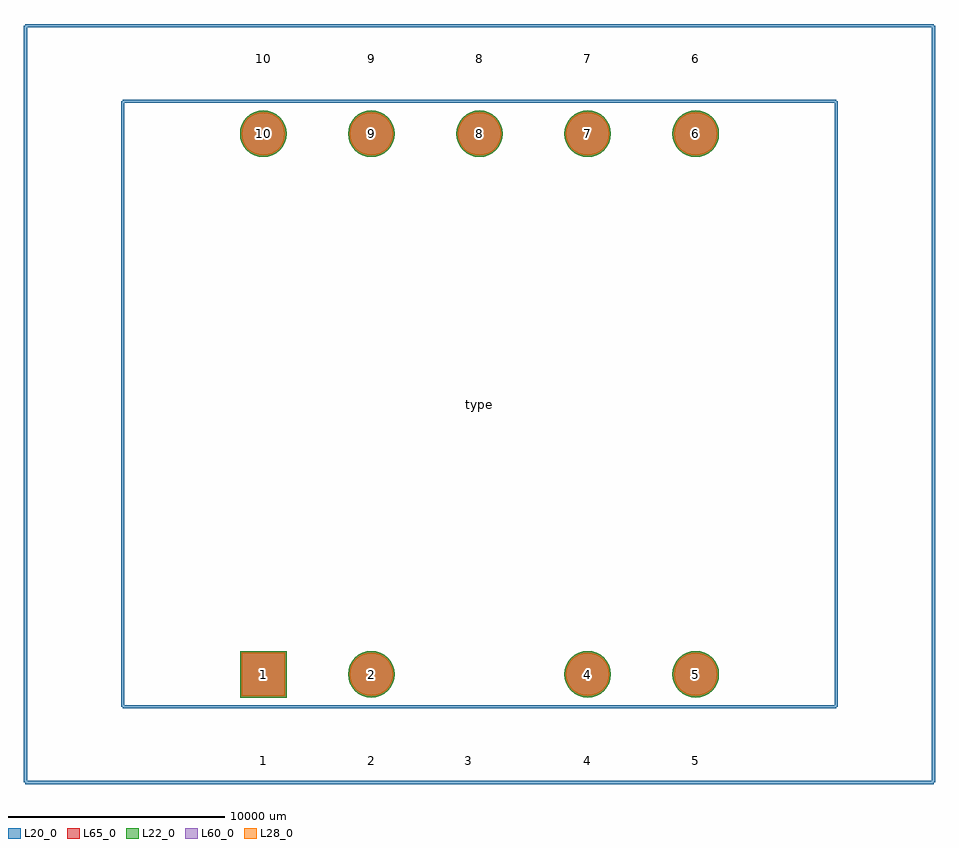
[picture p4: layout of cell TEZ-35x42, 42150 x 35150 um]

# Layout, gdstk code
import gdstk
lib = gdstk.Library(unit=1e-6, precision=1e-09)
def R(c, l, rs):  # rectangles x0, y0, x1, y1
    for r in rs: c.add(gdstk.rectangle(r[:2], r[2:], *l))
def P(c, l, *ps):  # polygons
    for p in ps: c.add(gdstk.Polygon(p, *l))
L20_0 = (20, 0)
L22_0 = (22, 0)
L28_0 = (28, 0)
L60_0 = (60, 0)
L65_0 = (65, 0)

tez_35x42 = lib.new_cell('TEZ-35x42')
R(tez_35x42, L22_0, [(-11075,-13575,-8925,-11425)])
P(tez_35x42, L22_0, [(-8925,12500),(-8945.656,12709.722),(-9006.83,12911.385),(-9106.17,13097.238),(-9239.86,13260.14),(-9402.762,13393.83),(-9588.615,13493.17),(-9790.278,13554.344),(-10000,13575),(-10209.722,13554.344),(-10411.385,13493.17),(-10597.238,13393.83),(-10760.14,13260.14),(-10893.83,13097.238),(-10993.17,12911.385),(-11054.344,12709.722),(-11075,12500),(-11054.344,12290.278),(-10993.17,12088.615),(-10893.83,11902.762),(-10760.14,11739.86),(-10597.238,11606.17),(-10411.385,11506.83),(-10209.722,11445.656),(-10000,11425),(-9790.278,11445.656),(-9588.615,11506.83),(-9402.762,11606.17),(-9239.86,11739.86),(-9106.17,11902.762),(-9006.83,12088.615),(-8945.656,12290.278)],
  [(-3925,12500),(-3945.656,12709.722),(-4006.83,12911.385),(-4106.17,13097.238),(-4239.86,13260.14),(-4402.762,13393.83),(-4588.615,13493.17),(-4790.278,13554.344),(-5000,13575),(-5209.722,13554.344),(-5411.385,13493.17),(-5597.238,13393.83),(-5760.14,13260.14),(-5893.83,13097.238),(-5993.17,12911.385),(-6054.344,12709.722),(-6075,12500),(-6054.344,12290.278),(-5993.17,12088.615),(-5893.83,11902.762),(-5760.14,11739.86),(-5597.238,11606.17),(-5411.385,11506.83),(-5209.722,11445.656),(-5000,11425),(-4790.278,11445.656),(-4588.615,11506.83),(-4402.762,11606.17),(-4239.86,11739.86),(-4106.17,11902.762),(-4006.83,12088.615),(-3945.656,12290.278)],
  [(1075,12500),(1054.344,12709.722),(993.17,12911.385),(893.83,13097.238),(760.14,13260.14),(597.238,13393.83),(411.385,13493.17),(209.722,13554.344),(0,13575),(-209.722,13554.344),(-411.385,13493.17),(-597.238,13393.83),(-760.14,13260.14),(-893.83,13097.238),(-993.17,12911.385),(-1054.344,12709.722),(-1075,12500),(-1054.344,12290.278),(-993.17,12088.615),(-893.83,11902.762),(-760.14,11739.86),(-597.238,11606.17),(-411.385,11506.83),(-209.722,11445.656),(0,11425),(209.722,11445.656),(411.385,11506.83),(597.238,11606.17),(760.14,11739.86),(893.83,11902.762),(993.17,12088.615),(1054.344,12290.278)],
  [(6075,12500),(6054.344,12709.722),(5993.17,12911.385),(5893.83,13097.238),(5760.14,13260.14),(5597.238,13393.83),(5411.385,13493.17),(5209.722,13554.344),(5000,13575),(4790.278,13554.344),(4588.615,13493.17),(4402.762,13393.83),(4239.86,13260.14),(4106.17,13097.238),(4006.83,12911.385),(3945.656,12709.722),(3925,12500),(3945.656,12290.278),(4006.83,12088.615),(4106.17,11902.762),(4239.86,11739.86),(4402.762,11606.17),(4588.615,11506.83),(4790.278,11445.656),(5000,11425),(5209.722,11445.656),(5411.385,11506.83),(5597.238,11606.17),(5760.14,11739.86),(5893.83,11902.762),(5993.17,12088.615),(6054.344,12290.278)],
  [(11075,12500),(11054.344,12709.722),(10993.17,12911.385),(10893.83,13097.238),(10760.14,13260.14),(10597.238,13393.83),(10411.385,13493.17),(10209.722,13554.344),(10000,13575),(9790.278,13554.344),(9588.615,13493.17),(9402.762,13393.83),(9239.86,13260.14),(9106.17,13097.238),(9006.83,12911.385),(8945.656,12709.722),(8925,12500),(8945.656,12290.278),(9006.83,12088.615),(9106.17,11902.762),(9239.86,11739.86),(9402.762,11606.17),(9588.615,11506.83),(9790.278,11445.656),(10000,11425),(10209.722,11445.656),(10411.385,11506.83),(10597.238,11606.17),(10760.14,11739.86),(10893.83,11902.762),(10993.17,12088.615),(11054.344,12290.278)],
  [(11075,-12500),(11054.344,-12290.278),(10993.17,-12088.615),(10893.83,-11902.762),(10760.14,-11739.86),(10597.238,-11606.17),(10411.385,-11506.83),(10209.722,-11445.656),(10000,-11425),(9790.278,-11445.656),(9588.615,-11506.83),(9402.762,-11606.17),(9239.86,-11739.86),(9106.17,-11902.762),(9006.83,-12088.615),(8945.656,-12290.278),(8925,-12500),(8945.656,-12709.722),(9006.83,-12911.385),(9106.17,-13097.238),(9239.86,-13260.14),(9402.762,-13393.83),(9588.615,-13493.17),(9790.278,-13554.344),(10000,-13575),(10209.722,-13554.344),(10411.385,-13493.17),(10597.238,-13393.83),(10760.14,-13260.14),(10893.83,-13097.238),(10993.17,-12911.385),(11054.344,-12709.722)],
  [(6075,-12500),(6054.344,-12290.278),(5993.17,-12088.615),(5893.83,-11902.762),(5760.14,-11739.86),(5597.238,-11606.17),(5411.385,-11506.83),(5209.722,-11445.656),(5000,-11425),(4790.278,-11445.656),(4588.615,-11506.83),(4402.762,-11606.17),(4239.86,-11739.86),(4106.17,-11902.762),(4006.83,-12088.615),(3945.656,-12290.278),(3925,-12500),(3945.656,-12709.722),(4006.83,-12911.385),(4106.17,-13097.238),(4239.86,-13260.14),(4402.762,-13393.83),(4588.615,-13493.17),(4790.278,-13554.344),(5000,-13575),(5209.722,-13554.344),(5411.385,-13493.17),(5597.238,-13393.83),(5760.14,-13260.14),(5893.83,-13097.238),(5993.17,-12911.385),(6054.344,-12709.722)],
  [(-3925,-12500),(-3945.656,-12290.278),(-4006.83,-12088.615),(-4106.17,-11902.762),(-4239.86,-11739.86),(-4402.762,-11606.17),(-4588.615,-11506.83),(-4790.278,-11445.656),(-5000,-11425),(-5209.722,-11445.656),(-5411.385,-11506.83),(-5597.238,-11606.17),(-5760.14,-11739.86),(-5893.83,-11902.762),(-5993.17,-12088.615),(-6054.344,-12290.278),(-6075,-12500),(-6054.344,-12709.722),(-5993.17,-12911.385),(-5893.83,-13097.238),(-5760.14,-13260.14),(-5597.238,-13393.83),(-5411.385,-13493.17),(-5209.722,-13554.344),(-5000,-13575),(-4790.278,-13554.344),(-4588.615,-13493.17),(-4402.762,-13393.83),(-4239.86,-13260.14),(-4106.17,-13097.238),(-4006.83,-12911.385),(-3945.656,-12709.722)])
R(tez_35x42, L28_0, [(-11000,-13500,-9000,-11500)])
P(tez_35x42, L28_0, [(-9000,12500),(-9019.215,12695.09),(-9076.12,12882.683),(-9168.53,13055.57),(-9292.893,13207.107),(-9444.43,13331.47),(-9617.317,13423.88),(-9804.91,13480.785),(-10000,13500),(-10195.09,13480.785),(-10382.683,13423.88),(-10555.57,13331.47),(-10707.107,13207.107),(-10831.47,13055.57),(-10923.88,12882.683),(-10980.785,12695.09),(-11000,12500),(-10980.785,12304.91),(-10923.88,12117.317),(-10831.47,11944.43),(-10707.107,11792.893),(-10555.57,11668.53),(-10382.683,11576.12),(-10195.09,11519.215),(-10000,11500),(-9804.91,11519.215),(-9617.317,11576.12),(-9444.43,11668.53),(-9292.893,11792.893),(-9168.53,11944.43),(-9076.12,12117.317),(-9019.215,12304.91)],
  [(-4000,12500),(-4019.215,12695.09),(-4076.12,12882.683),(-4168.53,13055.57),(-4292.893,13207.107),(-4444.43,13331.47),(-4617.317,13423.88),(-4804.91,13480.785),(-5000,13500),(-5195.09,13480.785),(-5382.683,13423.88),(-5555.57,13331.47),(-5707.107,13207.107),(-5831.47,13055.57),(-5923.88,12882.683),(-5980.785,12695.09),(-6000,12500),(-5980.785,12304.91),(-5923.88,12117.317),(-5831.47,11944.43),(-5707.107,11792.893),(-5555.57,11668.53),(-5382.683,11576.12),(-5195.09,11519.215),(-5000,11500),(-4804.91,11519.215),(-4617.317,11576.12),(-4444.43,11668.53),(-4292.893,11792.893),(-4168.53,11944.43),(-4076.12,12117.317),(-4019.215,12304.91)],
  [(1000,12500),(980.785,12695.09),(923.88,12882.683),(831.47,13055.57),(707.107,13207.107),(555.57,13331.47),(382.683,13423.88),(195.09,13480.785),(0,13500),(-195.09,13480.785),(-382.683,13423.88),(-555.57,13331.47),(-707.107,13207.107),(-831.47,13055.57),(-923.88,12882.683),(-980.785,12695.09),(-1000,12500),(-980.785,12304.91),(-923.88,12117.317),(-831.47,11944.43),(-707.107,11792.893),(-555.57,11668.53),(-382.683,11576.12),(-195.09,11519.215),(0,11500),(195.09,11519.215),(382.683,11576.12),(555.57,11668.53),(707.107,11792.893),(831.47,11944.43),(923.88,12117.317),(980.785,12304.91)],
  [(6000,12500),(5980.785,12695.09),(5923.88,12882.683),(5831.47,13055.57),(5707.107,13207.107),(5555.57,13331.47),(5382.683,13423.88),(5195.09,13480.785),(5000,13500),(4804.91,13480.785),(4617.317,13423.88),(4444.43,13331.47),(4292.893,13207.107),(4168.53,13055.57),(4076.12,12882.683),(4019.215,12695.09),(4000,12500),(4019.215,12304.91),(4076.12,12117.317),(4168.53,11944.43),(4292.893,11792.893),(4444.43,11668.53),(4617.317,11576.12),(4804.91,11519.215),(5000,11500),(5195.09,11519.215),(5382.683,11576.12),(5555.57,11668.53),(5707.107,11792.893),(5831.47,11944.43),(5923.88,12117.317),(5980.785,12304.91)],
  [(11000,12500),(10980.785,12695.09),(10923.88,12882.683),(10831.47,13055.57),(10707.107,13207.107),(10555.57,13331.47),(10382.683,13423.88),(10195.09,13480.785),(10000,13500),(9804.91,13480.785),(9617.317,13423.88),(9444.43,13331.47),(9292.893,13207.107),(9168.53,13055.57),(9076.12,12882.683),(9019.215,12695.09),(9000,12500),(9019.215,12304.91),(9076.12,12117.317),(9168.53,11944.43),(9292.893,11792.893),(9444.43,11668.53),(9617.317,11576.12),(9804.91,11519.215),(10000,11500),(10195.09,11519.215),(10382.683,11576.12),(10555.57,11668.53),(10707.107,11792.893),(10831.47,11944.43),(10923.88,12117.317),(10980.785,12304.91)],
  [(11000,-12500),(10980.785,-12304.91),(10923.88,-12117.317),(10831.47,-11944.43),(10707.107,-11792.893),(10555.57,-11668.53),(10382.683,-11576.12),(10195.09,-11519.215),(10000,-11500),(9804.91,-11519.215),(9617.317,-11576.12),(9444.43,-11668.53),(9292.893,-11792.893),(9168.53,-11944.43),(9076.12,-12117.317),(9019.215,-12304.91),(9000,-12500),(9019.215,-12695.09),(9076.12,-12882.683),(9168.53,-13055.57),(9292.893,-13207.107),(9444.43,-13331.47),(9617.317,-13423.88),(9804.91,-13480.785),(10000,-13500),(10195.09,-13480.785),(10382.683,-13423.88),(10555.57,-13331.47),(10707.107,-13207.107),(10831.47,-13055.57),(10923.88,-12882.683),(10980.785,-12695.09)],
  [(6000,-12500),(5980.785,-12304.91),(5923.88,-12117.317),(5831.47,-11944.43),(5707.107,-11792.893),(5555.57,-11668.53),(5382.683,-11576.12),(5195.09,-11519.215),(5000,-11500),(4804.91,-11519.215),(4617.317,-11576.12),(4444.43,-11668.53),(4292.893,-11792.893),(4168.53,-11944.43),(4076.12,-12117.317),(4019.215,-12304.91),(4000,-12500),(4019.215,-12695.09),(4076.12,-12882.683),(4168.53,-13055.57),(4292.893,-13207.107),(4444.43,-13331.47),(4617.317,-13423.88),(4804.91,-13480.785),(5000,-13500),(5195.09,-13480.785),(5382.683,-13423.88),(5555.57,-13331.47),(5707.107,-13207.107),(5831.47,-13055.57),(5923.88,-12882.683),(5980.785,-12695.09)],
  [(-4000,-12500),(-4019.215,-12304.91),(-4076.12,-12117.317),(-4168.53,-11944.43),(-4292.893,-11792.893),(-4444.43,-11668.53),(-4617.317,-11576.12),(-4804.91,-11519.215),(-5000,-11500),(-5195.09,-11519.215),(-5382.683,-11576.12),(-5555.57,-11668.53),(-5707.107,-11792.893),(-5831.47,-11944.43),(-5923.88,-12117.317),(-5980.785,-12304.91),(-6000,-12500),(-5980.785,-12695.09),(-5923.88,-12882.683),(-5831.47,-13055.57),(-5707.107,-13207.107),(-5555.57,-13331.47),(-5382.683,-13423.88),(-5195.09,-13480.785),(-5000,-13500),(-4804.91,-13480.785),(-4617.317,-13423.88),(-4444.43,-13331.47),(-4292.893,-13207.107),(-4168.53,-13055.57),(-4076.12,-12882.683),(-4019.215,-12695.09)])
R(tez_35x42, L60_0, [(-11000,-13500,-9000,-11500)])
P(tez_35x42, L60_0, [(-9000,12500),(-9019.215,12695.09),(-9076.12,12882.683),(-9168.53,13055.57),(-9292.893,13207.107),(-9444.43,13331.47),(-9617.317,13423.88),(-9804.91,13480.785),(-10000,13500),(-10195.09,13480.785),(-10382.683,13423.88),(-10555.57,13331.47),(-10707.107,13207.107),(-10831.47,13055.57),(-10923.88,12882.683),(-10980.785,12695.09),(-11000,12500),(-10980.785,12304.91),(-10923.88,12117.317),(-10831.47,11944.43),(-10707.107,11792.893),(-10555.57,11668.53),(-10382.683,11576.12),(-10195.09,11519.215),(-10000,11500),(-9804.91,11519.215),(-9617.317,11576.12),(-9444.43,11668.53),(-9292.893,11792.893),(-9168.53,11944.43),(-9076.12,12117.317),(-9019.215,12304.91)],
  [(-4000,12500),(-4019.215,12695.09),(-4076.12,12882.683),(-4168.53,13055.57),(-4292.893,13207.107),(-4444.43,13331.47),(-4617.317,13423.88),(-4804.91,13480.785),(-5000,13500),(-5195.09,13480.785),(-5382.683,13423.88),(-5555.57,13331.47),(-5707.107,13207.107),(-5831.47,13055.57),(-5923.88,12882.683),(-5980.785,12695.09),(-6000,12500),(-5980.785,12304.91),(-5923.88,12117.317),(-5831.47,11944.43),(-5707.107,11792.893),(-5555.57,11668.53),(-5382.683,11576.12),(-5195.09,11519.215),(-5000,11500),(-4804.91,11519.215),(-4617.317,11576.12),(-4444.43,11668.53),(-4292.893,11792.893),(-4168.53,11944.43),(-4076.12,12117.317),(-4019.215,12304.91)],
  [(1000,12500),(980.785,12695.09),(923.88,12882.683),(831.47,13055.57),(707.107,13207.107),(555.57,13331.47),(382.683,13423.88),(195.09,13480.785),(0,13500),(-195.09,13480.785),(-382.683,13423.88),(-555.57,13331.47),(-707.107,13207.107),(-831.47,13055.57),(-923.88,12882.683),(-980.785,12695.09),(-1000,12500),(-980.785,12304.91),(-923.88,12117.317),(-831.47,11944.43),(-707.107,11792.893),(-555.57,11668.53),(-382.683,11576.12),(-195.09,11519.215),(0,11500),(195.09,11519.215),(382.683,11576.12),(555.57,11668.53),(707.107,11792.893),(831.47,11944.43),(923.88,12117.317),(980.785,12304.91)],
  [(6000,12500),(5980.785,12695.09),(5923.88,12882.683),(5831.47,13055.57),(5707.107,13207.107),(5555.57,13331.47),(5382.683,13423.88),(5195.09,13480.785),(5000,13500),(4804.91,13480.785),(4617.317,13423.88),(4444.43,13331.47),(4292.893,13207.107),(4168.53,13055.57),(4076.12,12882.683),(4019.215,12695.09),(4000,12500),(4019.215,12304.91),(4076.12,12117.317),(4168.53,11944.43),(4292.893,11792.893),(4444.43,11668.53),(4617.317,11576.12),(4804.91,11519.215),(5000,11500),(5195.09,11519.215),(5382.683,11576.12),(5555.57,11668.53),(5707.107,11792.893),(5831.47,11944.43),(5923.88,12117.317),(5980.785,12304.91)],
  [(11000,12500),(10980.785,12695.09),(10923.88,12882.683),(10831.47,13055.57),(10707.107,13207.107),(10555.57,13331.47),(10382.683,13423.88),(10195.09,13480.785),(10000,13500),(9804.91,13480.785),(9617.317,13423.88),(9444.43,13331.47),(9292.893,13207.107),(9168.53,13055.57),(9076.12,12882.683),(9019.215,12695.09),(9000,12500),(9019.215,12304.91),(9076.12,12117.317),(9168.53,11944.43),(9292.893,11792.893),(9444.43,11668.53),(9617.317,11576.12),(9804.91,11519.215),(10000,11500),(10195.09,11519.215),(10382.683,11576.12),(10555.57,11668.53),(10707.107,11792.893),(10831.47,11944.43),(10923.88,12117.317),(10980.785,12304.91)],
  [(11000,-12500),(10980.785,-12304.91),(10923.88,-12117.317),(10831.47,-11944.43),(10707.107,-11792.893),(10555.57,-11668.53),(10382.683,-11576.12),(10195.09,-11519.215),(10000,-11500),(9804.91,-11519.215),(9617.317,-11576.12),(9444.43,-11668.53),(9292.893,-11792.893),(9168.53,-11944.43),(9076.12,-12117.317),(9019.215,-12304.91),(9000,-12500),(9019.215,-12695.09),(9076.12,-12882.683),(9168.53,-13055.57),(9292.893,-13207.107),(9444.43,-13331.47),(9617.317,-13423.88),(9804.91,-13480.785),(10000,-13500),(10195.09,-13480.785),(10382.683,-13423.88),(10555.57,-13331.47),(10707.107,-13207.107),(10831.47,-13055.57),(10923.88,-12882.683),(10980.785,-12695.09)],
  [(6000,-12500),(5980.785,-12304.91),(5923.88,-12117.317),(5831.47,-11944.43),(5707.107,-11792.893),(5555.57,-11668.53),(5382.683,-11576.12),(5195.09,-11519.215),(5000,-11500),(4804.91,-11519.215),(4617.317,-11576.12),(4444.43,-11668.53),(4292.893,-11792.893),(4168.53,-11944.43),(4076.12,-12117.317),(4019.215,-12304.91),(4000,-12500),(4019.215,-12695.09),(4076.12,-12882.683),(4168.53,-13055.57),(4292.893,-13207.107),(4444.43,-13331.47),(4617.317,-13423.88),(4804.91,-13480.785),(5000,-13500),(5195.09,-13480.785),(5382.683,-13423.88),(5555.57,-13331.47),(5707.107,-13207.107),(5831.47,-13055.57),(5923.88,-12882.683),(5980.785,-12695.09)],
  [(-4000,-12500),(-4019.215,-12304.91),(-4076.12,-12117.317),(-4168.53,-11944.43),(-4292.893,-11792.893),(-4444.43,-11668.53),(-4617.317,-11576.12),(-4804.91,-11519.215),(-5000,-11500),(-5195.09,-11519.215),(-5382.683,-11576.12),(-5555.57,-11668.53),(-5707.107,-11792.893),(-5831.47,-11944.43),(-5923.88,-12117.317),(-5980.785,-12304.91),(-6000,-12500),(-5980.785,-12695.09),(-5923.88,-12882.683),(-5831.47,-13055.57),(-5707.107,-13207.107),(-5555.57,-13331.47),(-5382.683,-13423.88),(-5195.09,-13480.785),(-5000,-13500),(-4804.91,-13480.785),(-4617.317,-13423.88),(-4444.43,-13331.47),(-4292.893,-13207.107),(-4168.53,-13055.57),(-4076.12,-12882.683),(-4019.215,-12695.09)])
R(tez_35x42, L65_0, [(-11075,-13575,-8925,-11425)])
P(tez_35x42, L65_0, [(-8925,12500),(-8945.656,12709.722),(-9006.83,12911.385),(-9106.17,13097.238),(-9239.86,13260.14),(-9402.762,13393.83),(-9588.615,13493.17),(-9790.278,13554.344),(-10000,13575),(-10209.722,13554.344),(-10411.385,13493.17),(-10597.238,13393.83),(-10760.14,13260.14),(-10893.83,13097.238),(-10993.17,12911.385),(-11054.344,12709.722),(-11075,12500),(-11054.344,12290.278),(-10993.17,12088.615),(-10893.83,11902.762),(-10760.14,11739.86),(-10597.238,11606.17),(-10411.385,11506.83),(-10209.722,11445.656),(-10000,11425),(-9790.278,11445.656),(-9588.615,11506.83),(-9402.762,11606.17),(-9239.86,11739.86),(-9106.17,11902.762),(-9006.83,12088.615),(-8945.656,12290.278)],
  [(-3925,12500),(-3945.656,12709.722),(-4006.83,12911.385),(-4106.17,13097.238),(-4239.86,13260.14),(-4402.762,13393.83),(-4588.615,13493.17),(-4790.278,13554.344),(-5000,13575),(-5209.722,13554.344),(-5411.385,13493.17),(-5597.238,13393.83),(-5760.14,13260.14),(-5893.83,13097.238),(-5993.17,12911.385),(-6054.344,12709.722),(-6075,12500),(-6054.344,12290.278),(-5993.17,12088.615),(-5893.83,11902.762),(-5760.14,11739.86),(-5597.238,11606.17),(-5411.385,11506.83),(-5209.722,11445.656),(-5000,11425),(-4790.278,11445.656),(-4588.615,11506.83),(-4402.762,11606.17),(-4239.86,11739.86),(-4106.17,11902.762),(-4006.83,12088.615),(-3945.656,12290.278)],
  [(1075,12500),(1054.344,12709.722),(993.17,12911.385),(893.83,13097.238),(760.14,13260.14),(597.238,13393.83),(411.385,13493.17),(209.722,13554.344),(0,13575),(-209.722,13554.344),(-411.385,13493.17),(-597.238,13393.83),(-760.14,13260.14),(-893.83,13097.238),(-993.17,12911.385),(-1054.344,12709.722),(-1075,12500),(-1054.344,12290.278),(-993.17,12088.615),(-893.83,11902.762),(-760.14,11739.86),(-597.238,11606.17),(-411.385,11506.83),(-209.722,11445.656),(0,11425),(209.722,11445.656),(411.385,11506.83),(597.238,11606.17),(760.14,11739.86),(893.83,11902.762),(993.17,12088.615),(1054.344,12290.278)],
  [(6075,12500),(6054.344,12709.722),(5993.17,12911.385),(5893.83,13097.238),(5760.14,13260.14),(5597.238,13393.83),(5411.385,13493.17),(5209.722,13554.344),(5000,13575),(4790.278,13554.344),(4588.615,13493.17),(4402.762,13393.83),(4239.86,13260.14),(4106.17,13097.238),(4006.83,12911.385),(3945.656,12709.722),(3925,12500),(3945.656,12290.278),(4006.83,12088.615),(4106.17,11902.762),(4239.86,11739.86),(4402.762,11606.17),(4588.615,11506.83),(4790.278,11445.656),(5000,11425),(5209.722,11445.656),(5411.385,11506.83),(5597.238,11606.17),(5760.14,11739.86),(5893.83,11902.762),(5993.17,12088.615),(6054.344,12290.278)],
  [(11075,12500),(11054.344,12709.722),(10993.17,12911.385),(10893.83,13097.238),(10760.14,13260.14),(10597.238,13393.83),(10411.385,13493.17),(10209.722,13554.344),(10000,13575),(9790.278,13554.344),(9588.615,13493.17),(9402.762,13393.83),(9239.86,13260.14),(9106.17,13097.238),(9006.83,12911.385),(8945.656,12709.722),(8925,12500),(8945.656,12290.278),(9006.83,12088.615),(9106.17,11902.762),(9239.86,11739.86),(9402.762,11606.17),(9588.615,11506.83),(9790.278,11445.656),(10000,11425),(10209.722,11445.656),(10411.385,11506.83),(10597.238,11606.17),(10760.14,11739.86),(10893.83,11902.762),(10993.17,12088.615),(11054.344,12290.278)],
  [(11075,-12500),(11054.344,-12290.278),(10993.17,-12088.615),(10893.83,-11902.762),(10760.14,-11739.86),(10597.238,-11606.17),(10411.385,-11506.83),(10209.722,-11445.656),(10000,-11425),(9790.278,-11445.656),(9588.615,-11506.83),(9402.762,-11606.17),(9239.86,-11739.86),(9106.17,-11902.762),(9006.83,-12088.615),(8945.656,-12290.278),(8925,-12500),(8945.656,-12709.722),(9006.83,-12911.385),(9106.17,-13097.238),(9239.86,-13260.14),(9402.762,-13393.83),(9588.615,-13493.17),(9790.278,-13554.344),(10000,-13575),(10209.722,-13554.344),(10411.385,-13493.17),(10597.238,-13393.83),(10760.14,-13260.14),(10893.83,-13097.238),(10993.17,-12911.385),(11054.344,-12709.722)],
  [(6075,-12500),(6054.344,-12290.278),(5993.17,-12088.615),(5893.83,-11902.762),(5760.14,-11739.86),(5597.238,-11606.17),(5411.385,-11506.83),(5209.722,-11445.656),(5000,-11425),(4790.278,-11445.656),(4588.615,-11506.83),(4402.762,-11606.17),(4239.86,-11739.86),(4106.17,-11902.762),(4006.83,-12088.615),(3945.656,-12290.278),(3925,-12500),(3945.656,-12709.722),(4006.83,-12911.385),(4106.17,-13097.238),(4239.86,-13260.14),(4402.762,-13393.83),(4588.615,-13493.17),(4790.278,-13554.344),(5000,-13575),(5209.722,-13554.344),(5411.385,-13493.17),(5597.238,-13393.83),(5760.14,-13260.14),(5893.83,-13097.238),(5993.17,-12911.385),(6054.344,-12709.722)],
  [(-3925,-12500),(-3945.656,-12290.278),(-4006.83,-12088.615),(-4106.17,-11902.762),(-4239.86,-11739.86),(-4402.762,-11606.17),(-4588.615,-11506.83),(-4790.278,-11445.656),(-5000,-11425),(-5209.722,-11445.656),(-5411.385,-11506.83),(-5597.238,-11606.17),(-5760.14,-11739.86),(-5893.83,-11902.762),(-5993.17,-12088.615),(-6054.344,-12290.278),(-6075,-12500),(-6054.344,-12709.722),(-5993.17,-12911.385),(-5893.83,-13097.238),(-5760.14,-13260.14),(-5597.238,-13393.83),(-5411.385,-13493.17),(-5209.722,-13554.344),(-5000,-13575),(-4790.278,-13554.344),(-4588.615,-13493.17),(-4402.762,-13393.83),(-4239.86,-13260.14),(-4106.17,-13097.238),(-4006.83,-12911.385),(-3945.656,-12709.722)])
tez_35x42.add(gdstk.FlexPath([(-21000,-17500),(-21000,17500)], 149.998, ends="flush", simple_path=True, layer=20, datatype=0))  # L20_0
tez_35x42.add(gdstk.FlexPath([(21000,-17500),(-21000,-17500)], 149.998, ends="flush", simple_path=True, layer=20, datatype=0))  # L20_0
tez_35x42.add(gdstk.FlexPath([(21000,17500),(21000,-17500)], 149.998, ends="flush", simple_path=True, layer=20, datatype=0))  # L20_0
tez_35x42.add(gdstk.FlexPath([(-21000,17500),(21000,17500)], 149.998, ends="flush", simple_path=True, layer=20, datatype=0))  # L20_0
tez_35x42.add(gdstk.FlexPath([(-16500,-14000),(-16500,14000)], 149.998, ends="flush", simple_path=True, layer=20, datatype=0))  # L20_0
tez_35x42.add(gdstk.FlexPath([(16500,-14000),(-16500,-14000)], 149.998, ends="flush", simple_path=True, layer=20, datatype=0))  # L20_0
tez_35x42.add(gdstk.FlexPath([(16500,14000),(16500,-14000)], 149.998, ends="flush", simple_path=True, layer=20, datatype=0))  # L20_0
tez_35x42.add(gdstk.FlexPath([(-16500,14000),(16500,14000)], 149.998, ends="flush", simple_path=True, layer=20, datatype=0))  # L20_0
tez_35x42.add(gdstk.Label('10', (-10000,12500), layer=28, texttype=0))
tez_35x42.add(gdstk.Label('9', (-5000,12500), layer=28, texttype=0))
tez_35x42.add(gdstk.Label('8', (0,12500), layer=28, texttype=0))
tez_35x42.add(gdstk.Label('7', (5000,12500), layer=28, texttype=0))
tez_35x42.add(gdstk.Label('6', (10000,12500), layer=28, texttype=0))
tez_35x42.add(gdstk.Label('5', (10000,-12500), layer=28, texttype=0))
tez_35x42.add(gdstk.Label('4', (5000,-12500), layer=28, texttype=0))
tez_35x42.add(gdstk.Label('2', (-5000,-12500), layer=28, texttype=0))
tez_35x42.add(gdstk.Label('1', (-10000,-12500), layer=28, texttype=0))
tez_35x42.add(gdstk.Label('1', (-10000,-16500), layer=9, texttype=0))
tez_35x42.add(gdstk.Label('2', (-5000,-16500), layer=9, texttype=0))
tez_35x42.add(gdstk.Label('3', (-500,-16500), layer=9, texttype=0))
tez_35x42.add(gdstk.Label('4', (5000,-16500), layer=9, texttype=0))
tez_35x42.add(gdstk.Label('5', (10000,-16500), layer=9, texttype=0))
tez_35x42.add(gdstk.Label('6', (10000,16000), layer=9, texttype=0))
tez_35x42.add(gdstk.Label('7', (5000,16000), layer=9, texttype=0))
tez_35x42.add(gdstk.Label('8', (0,16000), layer=9, texttype=0))
tez_35x42.add(gdstk.Label('9', (-5000,16000), layer=9, texttype=0))
tez_35x42.add(gdstk.Label('10', (-10000,16000), layer=9, texttype=0))
tez_35x42.add(gdstk.Label('type', (0,0), layer=9, texttype=0))
tez_35x42.add(gdstk.Label('devicename', (0,19000), layer=9, texttype=0))

lib.write_gds('TEZ-35x42.gds')
